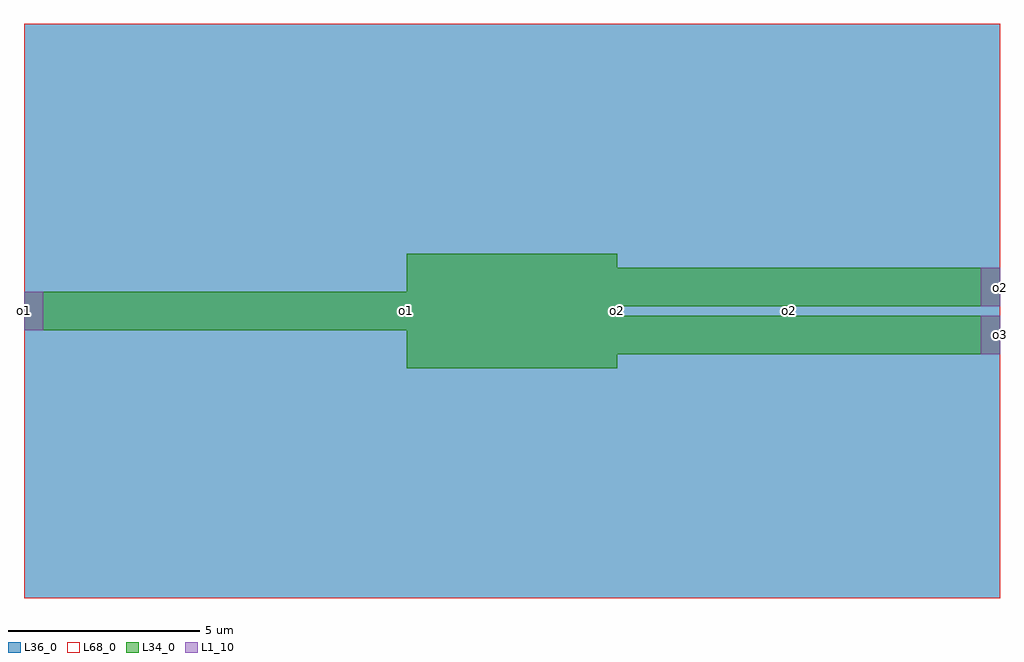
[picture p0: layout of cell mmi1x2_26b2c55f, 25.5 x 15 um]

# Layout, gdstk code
import gdstk
lib = gdstk.Library(unit=1e-6, precision=1e-09)
def R(c, l, rs):  # rectangles x0, y0, x1, y1
    for r in rs: c.add(gdstk.rectangle(r[:2], r[2:], *l))
L1_10 = (1, 10)
L34_0 = (34, 0)
L36_0 = (36, 0)
L68_0 = (68, 0)

mmi1x2_26b2c55f = lib.new_cell('mmi1x2_26b2c55f')
R(mmi1x2_26b2c55f, L1_10, [(15,-1.125,15.5,-0.125), (-10,-0.5,-9.5,0.5), (15,0.125,15.5,1.125)])
R(mmi1x2_26b2c55f, L34_0, [(0,-1.5,5.5,1.5), (5.5,-1.125,15.5,-0.125), (-10,-0.5,0,0.5), (5.5,0.125,15.5,1.125)])
R(mmi1x2_26b2c55f, L36_0, [(-10,-7.5,15.5,7.5), (0,-4.5,5.5,4.5), (5.5,-4.125,15.5,2.875), (-10,-3.5,0,3.5), (5.5,-2.875,15.5,4.125)])
R(mmi1x2_26b2c55f, L68_0, [(-10,-7.5,15.5,7.5)])
mmi1x2_26b2c55f.add(gdstk.Label('o1', (0,0), layer=1, texttype=10))
mmi1x2_26b2c55f.add(gdstk.Label('o2', (10,0), layer=1, texttype=10))
mmi1x2_26b2c55f.add(gdstk.Label('o1', (0,0), layer=1, texttype=10))
mmi1x2_26b2c55f.add(gdstk.Label('o2', (10,0), layer=1, texttype=10))
mmi1x2_26b2c55f.add(gdstk.Label('o1', (0,0), layer=1, texttype=10))
mmi1x2_26b2c55f.add(gdstk.Label('o2', (10,0), layer=1, texttype=10))
mmi1x2_26b2c55f.add(gdstk.Label('o1', (0,0), layer=1, texttype=10))
mmi1x2_26b2c55f.add(gdstk.Label('o2', (5.5,0), layer=1, texttype=10))
mmi1x2_26b2c55f.add(gdstk.Label('o1', (-10,0), layer=1, texttype=10))
mmi1x2_26b2c55f.add(gdstk.Label('o2', (15.5,0.625), layer=1, texttype=10))
mmi1x2_26b2c55f.add(gdstk.Label('o3', (15.5,-0.625), layer=1, texttype=10))

lib.write_gds('mmi1x2_26b2c55f.gds')
